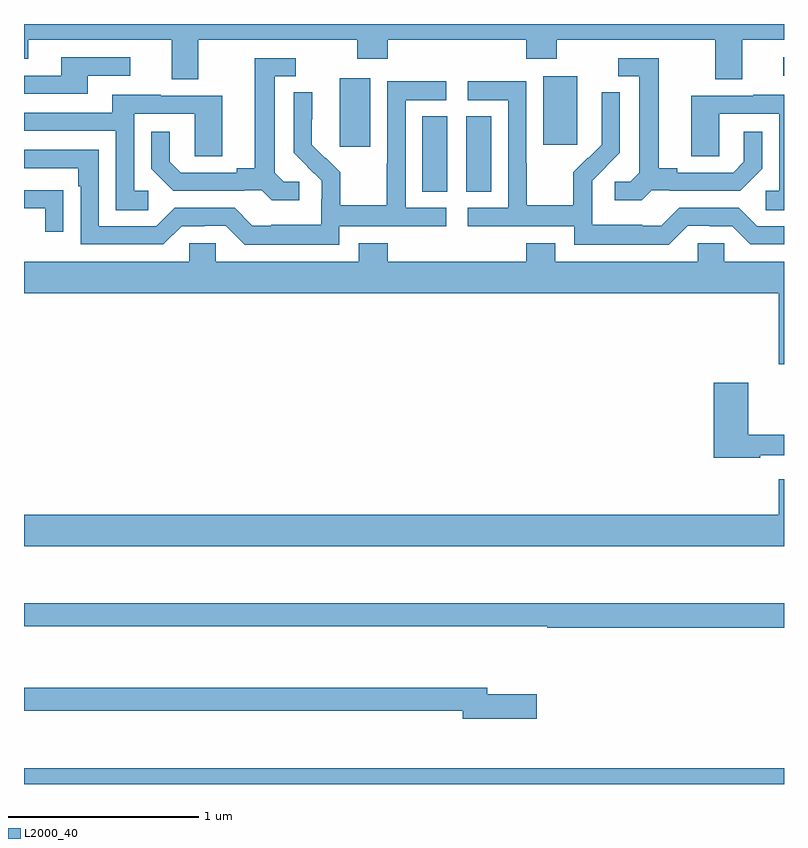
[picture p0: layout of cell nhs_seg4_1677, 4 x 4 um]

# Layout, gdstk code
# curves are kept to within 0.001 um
import gdstk
lib = gdstk.Library(unit=1e-6, precision=1e-09)
def R(c, l, rs):  # rectangles x0, y0, x1, y1
    for r in rs: c.add(gdstk.rectangle(r[:2], r[2:], *l))
def P(c, l, *ps):  # polygons
    for p in ps: c.add(gdstk.Polygon(p, *l))
L2000_40 = (2000, 40)

nhs_seg4_1677 = lib.new_cell('nhs_seg4_1677')
R(nhs_seg4_1677, L2000_40, [(197,796.9,201,796.984), (199.097,800.017,199.228,800.414), (199.328,800.017,199.459,800.414), (198.662,800.253,198.823,800.614), (199.733,800.265,199.912,800.626), (200.997,800.628,201,800.724)])
P(nhs_seg4_1677, L2000_40, [(197.917,800.816),(198.754,800.816),(198.754,800.717),(198.914,800.717),(198.914,800.816),(199.643,800.816),(199.643,800.717),(199.803,800.717),(199.803,800.816),(200.639,800.816),(200.639,800.608),(200.779,800.608),(200.779,800.816),(201,800.816),(201,800.9),(197,800.9),(197,800.717),(197.023,800.717),(197.023,800.816),(197.777,800.816),(197.777,800.608),(197.917,800.608)],
  [(197.335,800.628),(197.56,800.628),(197.56,800.724),(197.195,800.724),(197.195,800.628),(197,800.628),(197,800.532),(197.335,800.532)],
  [(198.448,800.07),(198.366,800.07),(198.319,800.117),(198.319,800.625),(198.43,800.625),(198.43,800.721),(198.215,800.721),(198.215,800.141),(198.119,800.141),(198.119,800.118),(197.824,800.118),(197.767,800.175),(197.767,800.332),(197.67,800.332),(197.67,800.138),(197.786,800.022),(198.158,800.022),(198.158,800.025),(198.252,800.025),(198.304,799.973),(198.448,799.973)],
  [(200.304,800.025),(200.398,800.025),(200.398,800.022),(200.77,800.022),(200.886,800.138),(200.886,800.332),(200.789,800.332),(200.789,800.175),(200.732,800.118),(200.437,800.118),(200.437,800.141),(200.341,800.141),(200.341,800.721),(200.127,800.721),(200.127,800.625),(200.237,800.625),(200.237,800.117),(200.19,800.07),(200.109,800.07),(200.109,799.973),(200.252,799.973)],
  [(198.66,799.836),(199.222,799.836),(199.222,799.932),(199.008,799.932),(199.008,800.499),(199.222,800.499),(199.222,800.598),(198.912,800.598),(198.912,800.165),(198.91,800.165),(198.91,799.945),(198.665,799.945),(198.665,800.119),(198.588,800.196),(198.585,800.193),(198.515,800.264),(198.515,800.399),(198.517,800.399),(198.517,800.54),(198.42,800.54),(198.42,800.222),(198.566,800.074),(198.566,799.977),(198.564,799.977),(198.564,799.843),(198.301,799.843),(198.301,799.839),(198.201,799.839),(198.108,799.932),(197.793,799.932),(197.697,799.836),(197.394,799.836),(197.394,800.238),(197,800.238),(197,800.142),(197.285,800.142),(197.285,800.045),(197.298,800.045),(197.298,799.74),(197.733,799.74),(197.829,799.836),(197.948,799.836),(197.948,799.839),(198.063,799.839),(198.163,799.739),(198.66,799.739)],
  [(200.493,799.839),(200.609,799.839),(200.609,799.836),(200.727,799.836),(200.823,799.74),(201,799.74),(201,799.836),(200.859,799.836),(200.763,799.932),(200.448,799.932),(200.355,799.839),(200.255,799.839),(200.255,799.843),(199.992,799.843),(199.992,799.977),(199.99,799.977),(199.99,800.074),(200.136,800.222),(200.136,800.54),(200.04,800.54),(200.04,800.386),(200.042,800.386),(200.042,800.264),(199.971,800.193),(199.968,800.196),(199.891,800.119),(199.891,799.945),(199.647,799.945),(199.647,800.168),(199.644,800.168),(199.644,800.598),(199.335,800.598),(199.335,800.499),(199.548,800.499),(199.548,799.932),(199.335,799.932),(199.335,799.836),(199.896,799.836),(199.896,799.739),(200.393,799.739)],
  [(197.653,800.022),(197.58,800.022),(197.58,800.427),(197.898,800.427),(197.898,800.203),(198.043,800.203),(198.043,800.523),(197.719,800.523),(197.719,800.527),(197.465,800.527),(197.465,800.433),(197,800.433),(197,800.337),(197.484,800.337),(197.484,799.921),(197.653,799.921)],
  [(201,800.527),(200.837,800.527),(200.837,800.523),(200.513,800.523),(200.513,800.203),(200.658,800.203),(200.658,800.427),(200.976,800.427),(200.976,800.022),(200.904,800.022),(200.904,799.921),(201,799.921)],
  [(197.207,800.024),(197.105,800.024),(197.105,800.025),(197,800.025),(197,799.929),(197.111,799.929),(197.111,799.806),(197.207,799.806)],
  [(201,799.648),(200.685,799.648),(200.685,799.746),(200.547,799.746),(200.547,799.648),(199.795,799.648),(199.795,799.747),(199.643,799.747),(199.643,799.648),(198.914,799.648),(198.914,799.747),(198.761,799.747),(198.761,799.648),(198.009,799.648),(198.009,799.746),(197.871,799.746),(197.871,799.648),(197,799.648),(197,799.484),(200.972,799.484),(200.972,799.11),(201,799.11)],
  [(200.876,798.63),(201,798.63),(201,798.739),(200.813,798.739),(200.813,799.012),(200.63,799.012),(200.63,798.618),(200.876,798.618)],
  [(201,798.505),(200.972,798.505),(200.972,798.316),(197,798.316),(197,798.152),(201,798.152)],
  [(201,797.851),(197,797.851),(197,797.73),(199.755,797.73),(199.755,797.722),(201,797.722)],
  [(199.699,797.373),(199.438,797.373),(199.438,797.407),(197,797.407),(197,797.286),(199.31,797.286),(199.31,797.243),(199.699,797.243)])

lib.write_gds('nhs_seg4_1677.gds')
